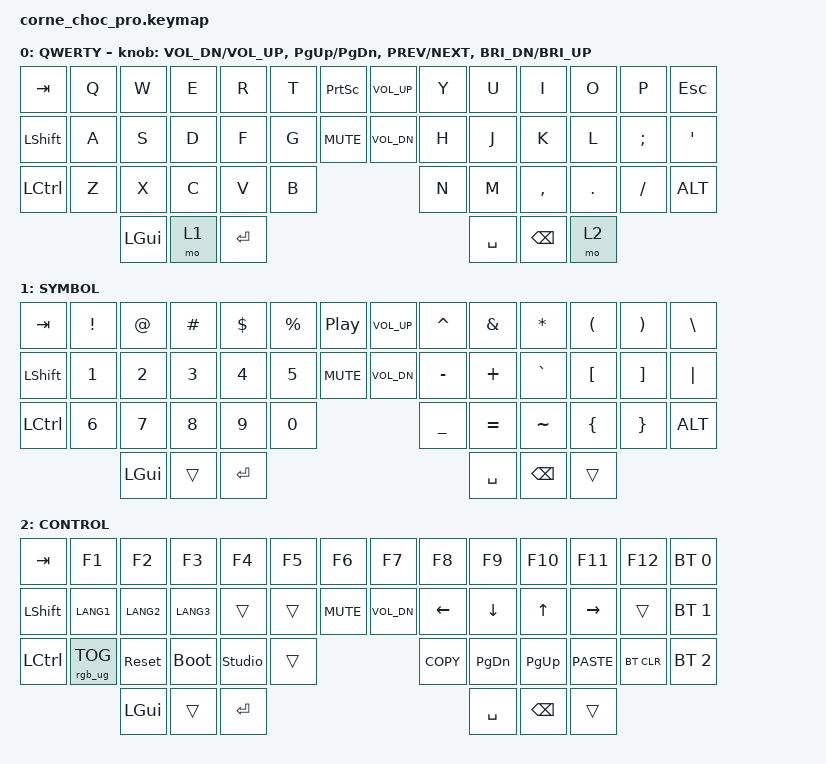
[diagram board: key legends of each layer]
/*
 * Copyright (c) 2020 The ZMK Contributors
 *
 * SPDX-License-Identifier: MIT
 */

#include <behaviors.dtsi>
#include <dt-bindings/zmk/keys.h>
#include <dt-bindings/zmk/bt.h>
#include <dt-bindings/zmk/rgb.h>

/ {
    chosen {
        zmk,physical-layout = &default_layout;
    };
};

/ {
    keymap {
        compatible = "zmk,keymap";

        default_layer {
            display-name = "QWERTY";
            // -------------------------------------------------------------------------------------------
            // |  TAB |  Q  |  W  |  E  |  R  |  T  | PSCN | VOL_UP |  Y  |  U   |  I  |  O  |  P  | ESC |
            // | SHFT |  A  |  S  |  D  |  F  |  G  | MUTE | VOL_DN |  H  |  J   |  K  |  L  | ; : | ' " |
            // | CTRL |  Z  |  X  |  C  |  V  |  B  |               |  N  |  M   | , < | . > | ? / | ALT |
            //                    | GUI | LWR | ENT |               | SPC | BSPC | RSE |
            bindings = <
                &kp TAB   &kp Q &kp W &kp E &kp R &kp T &kp PSCRN  &kp C_VOL_UP &kp Y &kp U &kp I     &kp O   &kp P    &kp ESC
                &kp LSHFT &kp A &kp S &kp D &kp F &kp G &kp C_MUTE &kp C_VOL_DN &kp H &kp J &kp K     &kp L   &kp SEMI &kp SQT
                &kp LCTRL &kp Z &kp X &kp C &kp V &kp B                         &kp N &kp M &kp COMMA &kp DOT &kp FSLH &kp ALT
                                &kp LGUI &mo 1 &kp RET                          &kp SPACE &kp BSPC &mo 2
            >;
            sensor-bindings = <&inc_dec_kp C_VOL_DN C_VOL_UP &inc_dec_kp PG_UP PG_DN &inc_dec_kp C_PREV C_NEXT &inc_dec_kp C_BRI_DN C_BRI_UP>;
        };

        lower_layer {
            display-name = "SYMBOL";
            // ---------------------------------------------------------------------------------------------------
            // |  TAB |  !  |  @  |  #  |  $  |  %  |  PSCN | LCTRL | RCTRL |  ^   |  &  |  *  |  (  |  )  |  \  |
            // | SHFT |  1  |  2  |  3  |  4  |  5  |  MUTE | RALT  | x     |  -   |  +  | ` ~ |  [  |  ]  | "|" |
            // | CTRL |  6  |  7  |  8  |  9  |  0  |       |       |       |  _   |  =  |  ~  |  {  |  }  | ALT |
            //                    | GUI |     | SPC |               | SPC   | BSPC |     |
            bindings = <
                &kp TAB   &kp EXCL &kp AT &kp HASH &kp DLLR &kp PRCNT &kp C_PP   &kp C_VOL_UP &kp CARET &kp AMPS  &kp ASTRK &kp LPAR &kp RPAR &kp BSLH
                &kp LSHFT &kp N1   &kp N2 &kp N3   &kp N4   &kp N5    &kp C_MUTE &kp C_VOL_DN &kp MINUS &kp PLUS  &kp GRAVE &kp LBKT &kp RBKT &kp PIPE
                &kp LCTRL &kp N6   &kp N7 &kp N8   &kp N9   &kp N0                            &kp UNDER &kp EQUAL &kp TILDE &kp LBRC &kp RBRC &kp ALT
                                          &kp LGUI &trans   &kp RET                           &kp SPACE &kp BSPC  &trans
            >;
        };

        raise_layer {
            display-name = "CONTROL";
            // ------------------------------------------------------------------------------------------------------
            // |  TAB |  F1  |  F2  |  F3  |  F4    |  F5  |  F6  |  F7  |  F8  |  F9  |  F10 |  F11   |  F12 | BT1 |
            // | SHFT | LNG1 | LNG2 | LNG3 |        |      | LALT | RALT | LFT  | DWN  |  UP  | RGT    |      | BT2 |
            // | CTRL | RGB  | RST  | BOOT | Unlock |      |             | COPY | PGDN | PGUP | PASTE  | BTCR | BT3 |
            //                      | GUI  |        | ENT  |             | SPC  | BSPC |      |
            bindings = <
                &kp  TAB  &kp F1    &kp F2     &kp F3      &kp F4         &kp F5 &kp F6     &kp F7       &kp F8     &kp F9    &kp F10   &kp F11     &kp F12    &bt BT_SEL 0
                &kp LSHFT &kp LANG1 &kp LANG2  &kp LANG3   &trans         &trans &kp C_MUTE &kp C_VOL_DN &kp LEFT   &kp DOWN  &kp UP    &kp RIGHT   &trans     &bt BT_SEL 1
                &kp LCTRL &rgb_ug RGB_TOG &sys_reset &bootloader &studio_unlock &trans                    &kp K_COPY &kp PG_DN &kp PG_UP &kp K_PASTE &bt BT_CLR &bt BT_SEL 2
                                               &kp LGUI    &trans         &kp RET                        &kp SPACE  &kp BSPC  &trans
            >;
        };

    };
};


